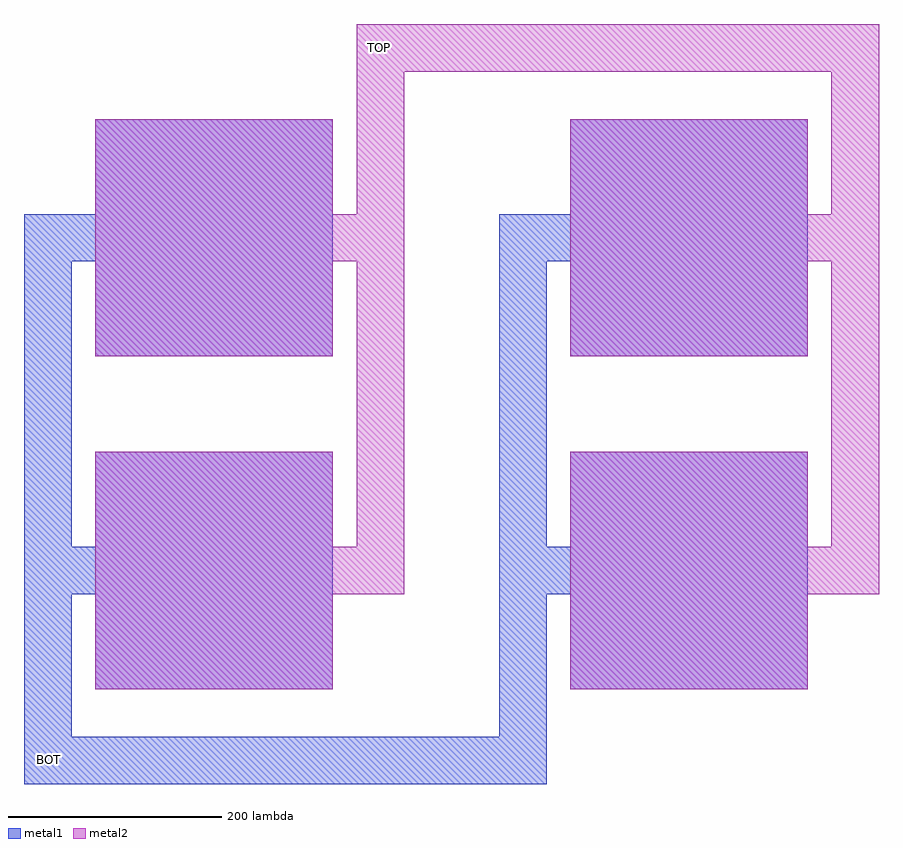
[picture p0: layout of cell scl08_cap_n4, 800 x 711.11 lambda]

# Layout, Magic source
magic
tech SCL_CP8D
magscale 1 9
<< metal1 >>
rect 0 4000 2000 4800
rect 4000 4000 6000 4800
rect -600 3600 2000 4000
rect -600 1200 -200 3600
rect 0 2800 2000 3600
rect 3400 3600 6000 4000
rect 0 1200 2000 2000
rect -600 800 2000 1200
rect -600 -400 -200 800
rect 0 0 2000 800
rect 3400 1200 3800 3600
rect 4000 2800 6000 3600
rect 4000 1200 6000 2000
rect 3400 800 6000 1200
rect 3400 -400 3800 800
rect 4000 0 6000 800
rect -600 -800 3800 -400
<< metal2 >>
rect 2200 5200 6600 5600
rect 0 4000 2000 4800
rect 2200 4000 2600 5200
rect 0 3600 2600 4000
rect 0 2800 2000 3600
rect 0 1200 2000 2000
rect 2200 1200 2600 3600
rect 4000 4000 6000 4800
rect 6200 4000 6600 5200
rect 4000 3600 6600 4000
rect 4000 2800 6000 3600
rect 0 800 2600 1200
rect 4000 1200 6000 2000
rect 6200 1200 6600 3600
rect 4000 800 6600 1200
rect 0 0 2000 800
rect 4000 0 6000 800
<< labels >>
rlabel metal1 s -396 -594 -396 -594 4 BOT
port 1 nsew
rlabel metal2 s 2394 5400 2394 5400 4 TOP
port 2 nsew
<< end >>
